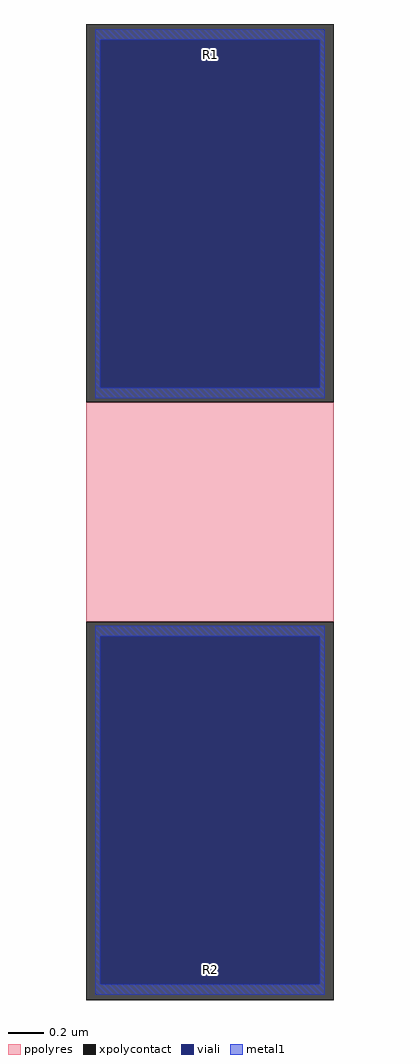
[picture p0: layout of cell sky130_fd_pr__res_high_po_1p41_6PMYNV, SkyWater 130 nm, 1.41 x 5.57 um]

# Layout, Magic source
magic
tech sky130A
magscale 1 2
<< xpolycontact >>
rect -141 125 141 557
rect -141 -557 141 -125
<< ppolyres >>
rect -141 -125 141 125
<< viali >>
rect -125 142 125 539
rect -125 -539 125 -142
<< metal1 >>
rect -131 539 131 551
rect -131 142 -125 539
rect 125 142 131 539
rect -131 130 131 142
rect -131 -142 131 -130
rect -131 -539 -125 -142
rect 125 -539 131 -142
rect -131 -551 131 -539
<< labels >>
rlabel xpolycontact 0 522 0 522 0 R1
port 1 nsew
rlabel xpolycontact 0 -522 0 -522 0 R2
port 2 nsew
<< properties >>
string gencell sky130_fd_pr__res_high_po_1p41
string library sky130
string parameters w 1.410 l 1.41 m 1 nx 1 wmin 1.410 lmin 0.50 class resistor rho 319.8 val 596.14 dummy 0 dw 0.0 term 194.82 sterm 0.0 caplen 0 guard 0 glc 0 grc 0 gtc 0 gbc 0 compatible {sky130_fd_pr__res_high_po_0p35  sky130_fd_pr__res_high_po_0p69 sky130_fd_pr__res_high_po_1p41  sky130_fd_pr__res_high_po_2p85 sky130_fd_pr__res_high_po_5p73} snake 0 full_metal 0 wmax 1.410 n_guard 0 hv_guard 0 vias 1 viagb 0 viagt 0 viagl 0 viagr 0 doports 1
<< end >>
